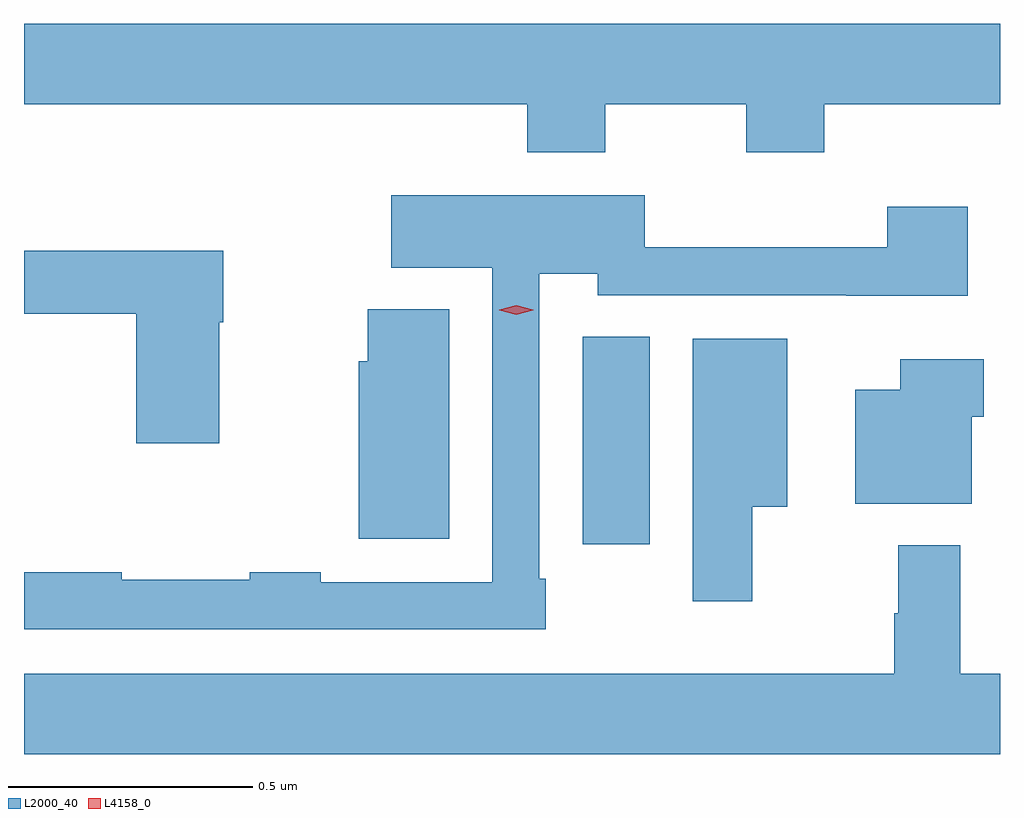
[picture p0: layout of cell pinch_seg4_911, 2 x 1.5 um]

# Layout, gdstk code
import gdstk
lib = gdstk.Library(unit=1e-6, precision=1e-09)
def R(c, l, rs):  # rectangles x0, y0, x1, y1
    for r in rs: c.add(gdstk.rectangle(r[:2], r[2:], *l))
def P(c, l, *ps):  # polygons
    for p in ps: c.add(gdstk.Polygon(p, *l))
L2000_40 = (2000, 40)
L4158_0 = (4158, 0)

pinch_seg4_911 = lib.new_cell('pinch_seg4_911')
R(pinch_seg4_911, L2000_40, [(710.147,818.562,710.284,818.987)])
P(pinch_seg4_911, L2000_40, [(710.193,819.464),(710.482,819.464),(710.482,819.365),(710.642,819.365),(710.642,819.464),(711.002,819.464),(711.002,819.628),(709.002,819.628),(709.002,819.464),(710.033,819.464),(710.033,819.365),(710.193,819.365)],
  [(710.071,818.491),(710.058,818.491),(710.058,819.116),(710.178,819.116),(710.178,819.072),(710.687,819.072),(710.687,819.071),(710.936,819.071),(710.936,819.253),(710.771,819.253),(710.771,819.17),(710.274,819.17),(710.274,819.277),(709.755,819.277),(709.755,819.128),(709.962,819.128),(709.962,818.484),(709.61,818.484),(709.61,818.504),(709.465,818.504),(709.465,818.489),(709.202,818.489),(709.202,818.504),(709.002,818.504),(709.002,818.388),(710.071,818.388)],
  [(709.402,819.017),(709.41,819.017),(709.41,819.163),(709.002,819.163),(709.002,819.034),(709.232,819.034),(709.232,818.769),(709.402,818.769)],
  [(709.873,819.043),(709.706,819.043),(709.706,818.937),(709.688,818.937),(709.688,818.573),(709.873,818.573)],
  [(710.494,818.639),(710.566,818.639),(710.566,818.983),(710.372,818.983),(710.372,818.445),(710.494,818.445)],
  [(710.944,818.823),(710.969,818.823),(710.969,818.941),(710.798,818.941),(710.798,818.878),(710.705,818.878),(710.705,818.645),(710.944,818.645)],
  [(711.002,818.296),(710.921,818.296),(710.921,818.56),(710.793,818.56),(710.793,818.42),(710.785,818.42),(710.785,818.296),(709.002,818.296),(709.002,818.132),(711.002,818.132)])
P(pinch_seg4_911, L4158_0, [(710.011,819.032),(709.976,819.041),(709.976,819.042),(709.976,819.042),(710.011,819.052),(710.046,819.042),(710.046,819.042),(710.046,819.041)])

lib.write_gds('pinch_seg4_911.gds')
